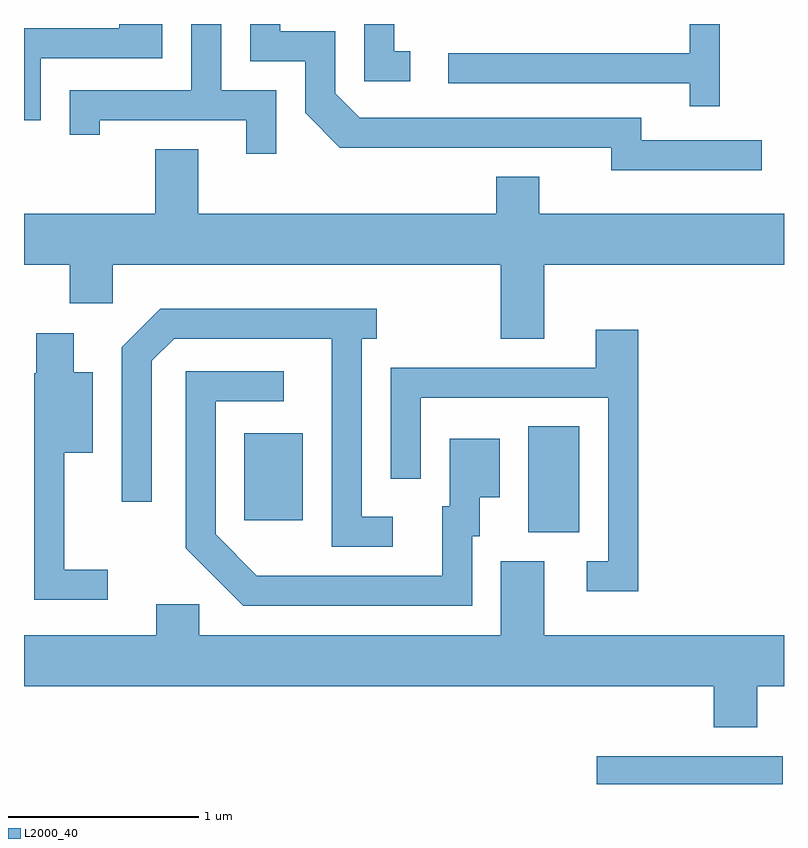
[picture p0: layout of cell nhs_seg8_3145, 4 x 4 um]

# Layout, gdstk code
import gdstk
lib = gdstk.Library(unit=1e-6, precision=1e-09)
def R(c, l, rs):  # rectangles x0, y0, x1, y1
    for r in rs: c.add(gdstk.rectangle(r[:2], r[2:], *l))
def P(c, l, *ps):  # polygons
    for p in ps: c.add(gdstk.Polygon(p, *l))
L2000_40 = (2000, 40)

nhs_seg8_3145 = lib.new_cell('nhs_seg8_3145')
R(nhs_seg8_3145, L2000_40, [(282.626,1840.342,283.604,1840.489), (282.266,1841.666,282.534,1842.224), (280.771,1841.731,281.079,1842.189), (281.866,1844.341,282.568,1844.342)])
P(nhs_seg8_3145, L2000_40, [(283.274,1844.342),(283.116,1844.342),(283.116,1844.189),(281.843,1844.189),(281.843,1844.031),(283.116,1844.031),(283.116,1843.908),(283.274,1843.908)],
  [(281.643,1844.199),(281.559,1844.199),(281.559,1844.342),(281.401,1844.342),(281.401,1844.041),(281.643,1844.041)],
  [(279.699,1844.161),(280.339,1844.161),(280.339,1844.342),(280.111,1844.342),(280.111,1844.319),(279.611,1844.319),(279.611,1843.836),(279.699,1843.836)],
  [(280.939,1843.994),(280.649,1843.994),(280.649,1844.342),(280.491,1844.342),(280.491,1843.994),(279.851,1843.994),(279.851,1843.758),(280.009,1843.758),(280.009,1843.836),(280.781,1843.836),(280.781,1843.658),(280.939,1843.658)],
  [(283.493,1843.729),(282.859,1843.729),(282.859,1843.849),(281.377,1843.849),(281.249,1843.977),(281.249,1844.304),(280.959,1844.304),(280.959,1844.342),(280.801,1844.342),(280.801,1844.146),(281.091,1844.146),(281.091,1843.874),(281.274,1843.691),(282.701,1843.691),(282.701,1843.571),(283.493,1843.571)],
  [(282.349,1843.076),(283.611,1843.076),(283.611,1843.344),(282.324,1843.344),(282.324,1843.539),(282.096,1843.539),(282.096,1843.344),(280.529,1843.344),(280.529,1843.684),(280.301,1843.684),(280.301,1843.344),(279.611,1843.344),(279.611,1843.076),(279.851,1843.076),(279.851,1842.871),(280.079,1842.871),(280.079,1843.076),(282.121,1843.076),(282.121,1842.686),(282.349,1842.686)],
  [(281.553,1841.749),(281.389,1841.749),(281.389,1842.686),(281.468,1842.686),(281.468,1842.844),(280.329,1842.844),(280.126,1842.642),(280.126,1841.828),(280.284,1841.828),(280.284,1842.569),(280.402,1842.686),(281.231,1842.686),(281.231,1841.591),(281.553,1841.591)],
  [(282.844,1842.734),(282.621,1842.734),(282.621,1842.534),(281.541,1842.534),(281.541,1841.948),(281.699,1841.948),(281.699,1842.376),(282.686,1842.376),(282.686,1841.514),(282.573,1841.514),(282.573,1841.356),(282.844,1841.356)],
  [(280.053,1841.469),(279.824,1841.469),(279.824,1842.086),(279.974,1842.086),(279.974,1842.509),(279.874,1842.509),(279.874,1842.714),(279.676,1842.714),(279.676,1842.505),(279.666,1842.505),(279.666,1841.311),(280.053,1841.311)],
  [(281.969,1841.646),(282.009,1841.646),(282.009,1841.851),(282.114,1841.851),(282.114,1842.159),(281.851,1842.159),(281.851,1841.804),(281.811,1841.804),(281.811,1841.439),(280.837,1841.439),(280.619,1841.657),(280.619,1842.356),(280.978,1842.356),(280.978,1842.514),(280.461,1842.514),(280.461,1841.584),(280.764,1841.281),(281.969,1841.281)],
  [(283.469,1840.856),(283.611,1840.856),(283.611,1841.124),(282.349,1841.124),(282.349,1841.514),(282.121,1841.514),(282.121,1841.124),(280.534,1841.124),(280.534,1841.289),(280.306,1841.289),(280.306,1841.124),(279.611,1841.124),(279.611,1840.856),(283.241,1840.856),(283.241,1840.641),(283.469,1840.641)])

lib.write_gds('nhs_seg8_3145.gds')
